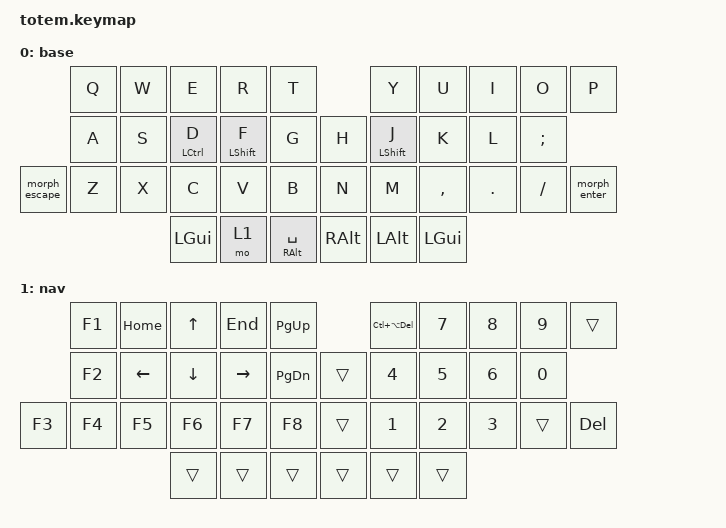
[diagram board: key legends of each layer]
#include <behaviors.dtsi>
#include <dt-bindings/zmk/keys.h>
#include <dt-bindings/zmk/bt.h>
#include <dt-bindings/zmk/outputs.h>

&mt {
  quick-tap-ms = <100>;
  global-quick-tap;
  flavor = "tap-preferred";
  tapping-term-ms = <170>;
};

/ {
    behaviors {
        bhm: balanced_homerow_mods {
            compatible = "zmk,behavior-hold-tap";
            #binding-cells = <2>;
            tapping-term-ms = <200>;    // <---[[moderate duration]]
            quick-tap-ms = <0>;
            flavor = "balanced";
            bindings = <&kp>, <&kp>;
        };
        bhm_space: bhm_space {
            compatible = "zmk,behavior-hold-tap";
            #binding-cells = <2>;
            tapping-term-ms = <200>;    // <---[[moderate duration]]
            quick-tap-ms = <0>;
            flavor = "balanced";
            bindings = <&kp>, <&kp>;
        };
        morph_enter: morph_enter {
            compatible = "zmk,behavior-mod-morph";
            bindings = <&kp ENTER>, <&kp BACKSPACE>;

            #binding-cells = <0>;
            mods = <(MOD_RALT)>;
        };

        morph_escape: morph_escape {
            compatible = "zmk,behavior-mod-morph";
            bindings = <&kp ESC>, <&kp TAB>;

            #binding-cells = <0>;
            mods = <(MOD_RALT)>;
        };
    };

    keymap {
        compatible = "zmk,keymap";

        base {
            bindings = <
         &kp Q  &kp W  &kp E     &kp R     &kp T        &kp Y     &kp U     &kp I      &kp O    &kp P
         &kp A  &kp S  &bhm LCTRL D     &bhm LSHIFT F     &kp G        &kp H     &bhm LSHIFT J     &kp K      &kp L    &kp SEMI
    &morph_escape  &kp Z  &kp X  &kp C     &kp V     &kp B        &kp N     &kp M     &kp COMMA  &kp DOT  &kp FSLH  &morph_enter
                       &kp LGUI  &mo 1  &bhm_space RALT SPACE     &kp RALT  &kp LALT  &kp LGUI
            >;
        };

        nav {
            bindings = <
        &kp F1  &kp HOME  &kp UP    &kp END    &kp PG_UP    &kp LC(LA(DEL))  &kp N7  &kp N8  &kp N9  &trans
        &kp F2  &kp LEFT  &kp DOWN  &kp RIGHT  &kp PG_DN    &trans  &kp N4  &kp N5  &kp N6  &kp N0
&kp F3  &kp F4  &kp F5    &kp F6    &kp F7     &kp F8       &trans  &kp N1  &kp N2  &kp N3  &trans  &kp DEL
                          &trans    &trans     &trans       &trans  &trans  &trans
            >;
        };
    };
};
